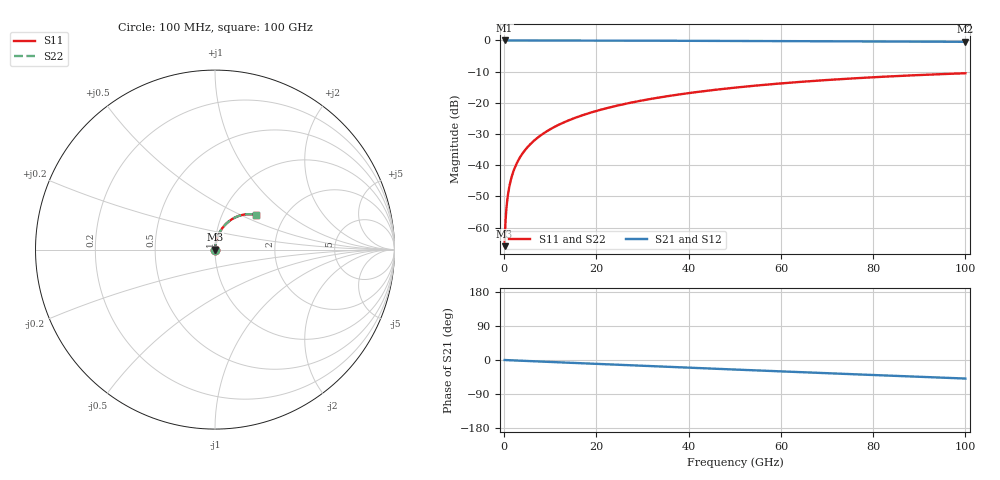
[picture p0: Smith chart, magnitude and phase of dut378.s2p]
! Touchstone file exported from HFSS 2026.1.0
!  File:  C:/ffzhzh/LocalFiles/Ansys_Project_Files/temp_train_TSV_378_1783510451_44152.aedt
!  Generated:  07:35:30 PM Jul  8, 2026
!  Design:  TSV
!  Project:  temp_train_TSV_378_1783510451_44152
! Variables:
!  h_bsmrdl = 2um
!  h_ox = 20um
!  h_rdl = 5um
!  h_sub = 91.44um
!  h_tmrdl = 5um
!  h_tsv = 91.44um
!  h_via = 3um
!  l_bsmrdl = 300um
!  l_sub = 413.1um
!  l_tmrdl = 200um
!  m_sub = 200um
!  pitch = 49.87um
!  r_tsv = 6.55um
!  s_tmrdl = 10um
!  w_bsmrdl = 18um
!  w_sub = 500um
!  w_tmrdl = 12um
!  x_tsv_center1 = 206um
!  x_tsv_center2 = 524um
!  x_tsv_center3 = 736um
!  x_tsv_center4 = 1054um
!  x_tsv_center5 = 1266um
!  x_tsv_center6 = 1584um
# GHz S MA R 50.000000
! Terminal data exported
! Port[1] = TSV1_1_T1
! Port[2] = TSV1_1_T2
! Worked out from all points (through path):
!   1000 points, 100 MHz to 100 GHz, reference 50 ohm
!   highest |S21| = 0.00 dB at 100 MHz (marker M1); lowest = -0.4 dB at 100 GHz (marker M2)
!   group delay of S21, straight-line fit = 1.36 ps
!   lowest |S11| = -66.0 dB at 100 MHz (marker M3), VSWR 1.00, Z = 50 + j0.042 ohm
!   |S11| at or under -10 dB: start of sweep to end of sweep
!   |S22| runs from -66.0 to -10.5 dB; largest |S21 - S12| = 3.6e-15
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0.1  0.0005028 56.6  0.9997 -0.1  0.9997 -0.1  0.0005028 56.6
! Gamma 0 0 0 0
! Port Impedance 50 0 50 0
0.4  0.001673 78.7  0.9997 -0.2  0.9997 -0.2  0.001673 78.7
0.7  0.002858 82.3  0.9996 -0.4  0.9996 -0.4  0.002858 82.3
0.8  0.003252 82.9  0.9996 -0.4  0.9996 -0.4  0.003252 82.9
1  0.004039 83.7  0.9996 -0.5  0.9996 -0.5  0.004039 83.7
1.3  0.005213 84.3  0.9995 -0.7  0.9995 -0.7  0.005213 84.3
1.7  0.006766 84.7  0.9995 -0.9  0.9995 -0.9  0.006766 84.7
2.3  0.009066 84.8  0.9993 -1.2  0.9993 -1.2  0.009066 84.8
3  0.01172 84.8  0.9992 -1.6  0.9992 -1.6  0.01172 84.8
3.8  0.01472 84.8  0.9991 -2.0  0.9991 -2.0  0.01472 84.8
4.8  0.01845 84.6  0.9989 -2.5  0.9989 -2.5  0.01845 84.6
6  0.02292 84.3  0.9987 -3.1  0.9987 -3.1  0.02292 84.3
8.8  0.03329 83.3  0.9982 -4.5  0.9982 -4.5  0.03329 83.3
12.4  0.04653 81.8  0.9974 -6.4  0.9974 -6.4  0.04653 81.8
16.8  0.06253 79.8  0.9963 -8.6  0.9963 -8.6  0.06253 79.8
24.2  0.089 76.3  0.9939 -12.3  0.9939 -12.3  0.089 76.3
33.4  0.1209 71.9  0.9902 -17.0  0.9902 -17.0  0.1209 71.9
41.2  0.147 68.1  0.9864 -20.8  0.9864 -20.8  0.147 68.1
50.1  0.1752 63.8  0.9816 -25.2  0.9816 -25.2  0.1752 63.8
66.7  0.2233 55.9  0.9714 -33.3  0.9714 -33.3  0.2233 55.9
83.4  0.2646 48.1  0.9607 -41.2  0.9607 -41.2  0.2646 48.1
100  0.2978 40.4  0.9507 -48.9  0.9507 -48.9  0.2978 40.5
